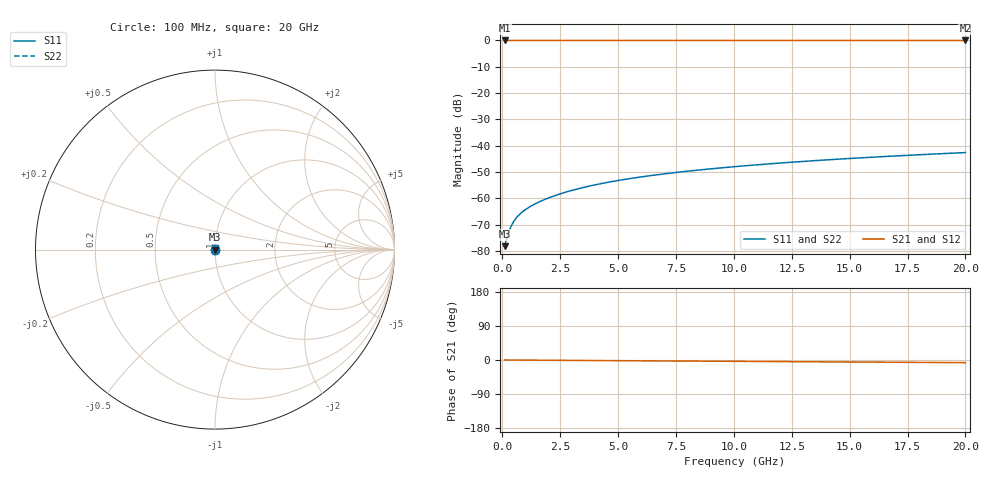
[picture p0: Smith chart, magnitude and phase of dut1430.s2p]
! Touchstone file exported from HFSS 2026.1.0
!  File:  C:/ffzhzh/LocalFiles/Ansys_Project_Files/temp_train_TSV_1430_1783197459_51560.aedt
!  Generated:  04:39:08 AM Jul  5, 2026
!  Design:  TSV
!  Project:  temp_train_TSV_1430_1783197459_51560
! Variables:
!  h_bsmrdl = 2um
!  h_ox = 20um
!  h_rdl = 5um
!  h_sub = 67.69um
!  h_tmrdl = 5um
!  h_tsv = 67.69um
!  h_via = 3um
!  l_bsmrdl = 300um
!  l_sub = 421.76um
!  l_tmrdl = 200um
!  m_sub = 200um
!  pitch = 46.37um
!  r_tsv = 10.88um
!  s_tmrdl = 10um
!  w_bsmrdl = 18um
!  w_sub = 500um
!  w_tmrdl = 12um
!  x_tsv_center1 = 206um
!  x_tsv_center2 = 524um
!  x_tsv_center3 = 736um
!  x_tsv_center4 = 1054um
!  x_tsv_center5 = 1266um
!  x_tsv_center6 = 1584um
# GHz S MA R 50.000000
! Terminal data exported
! Port[1] = TSV1_1_T1
! Port[2] = TSV1_1_T2
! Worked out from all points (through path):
!   200 points, 100 MHz to 20 GHz, reference 50 ohm
!   highest |S21| = 0.00 dB at 100 MHz (marker M1); lowest = 0.0 dB at 20 GHz (marker M2)
!   lowest |S11| = -78.2 dB at 100 MHz (marker M3), VSWR 1.00, Z = 50 + j0.00732 ohm
!   |S11| at or under -10 dB: start of sweep to end of sweep
!   |S22| runs from -78.2 to -42.6 dB; largest |S21 - S12| = 4.4e-15
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0.1  0.0001233 36.4  0.9999 -0.0  0.9999 -0.0  0.0001233 36.4
! Gamma 0 0 0 0
! Port Impedance 50 0 50 0
0.2  0.000181 52.7  0.9999 -0.1  0.9999 -0.1  0.000181 52.7
0.3  0.0002448 59.2  0.9999 -0.1  0.9999 -0.1  0.0002448 59.2
0.4  0.0003074 62.0  0.9999 -0.1  0.9999 -0.1  0.0003074 62.0
0.5  0.0003665 63.3  0.9998 -0.2  0.9998 -0.2  0.0003665 63.3
0.6  0.0004217 64.0  0.9998 -0.2  0.9998 -0.2  0.0004217 64.0
0.7  0.0004733 64.4  0.9998 -0.3  0.9998 -0.3  0.0004733 64.4
0.9  0.000568 65.1  0.9998 -0.3  0.9998 -0.3  0.000568 65.1
1.1  0.0006551 65.9  0.9997 -0.4  0.9997 -0.4  0.0006551 65.9
1.3  0.0007381 66.8  0.9997 -0.5  0.9997 -0.5  0.0007381 66.8
1.6  0.0008592 68.0  0.9997 -0.6  0.9997 -0.6  0.0008592 68.0
1.9  0.0009786 69.2  0.9997 -0.7  0.9997 -0.7  0.0009786 69.2
2.6  0.001256 71.3  0.9996 -0.9  0.9996 -0.9  0.001256 71.3
3.5  0.001609 73.0  0.9996 -1.2  0.9996 -1.2  0.001609 73.0
4.2  0.00188 73.8  0.9995 -1.5  0.9995 -1.5  0.00188 73.8
5  0.002183 74.3  0.9995 -1.8  0.9995 -1.8  0.002183 74.3
6.8  0.002847 75.1  0.9994 -2.4  0.9994 -2.4  0.002847 75.1
8.3  0.003386 75.5  0.9993 -2.9  0.9993 -2.9  0.003386 75.5
10.1  0.004022 75.7  0.9992 -3.6  0.9992 -3.6  0.004022 75.7
13.4  0.005171 75.7  0.9991 -4.7  0.9991 -4.7  0.005171 75.7
16.7  0.006299 75.4  0.999 -5.9  0.999 -5.9  0.006299 75.4
20  0.007401 74.7  0.9989 -7.0  0.9989 -7.0  0.007401 74.7
